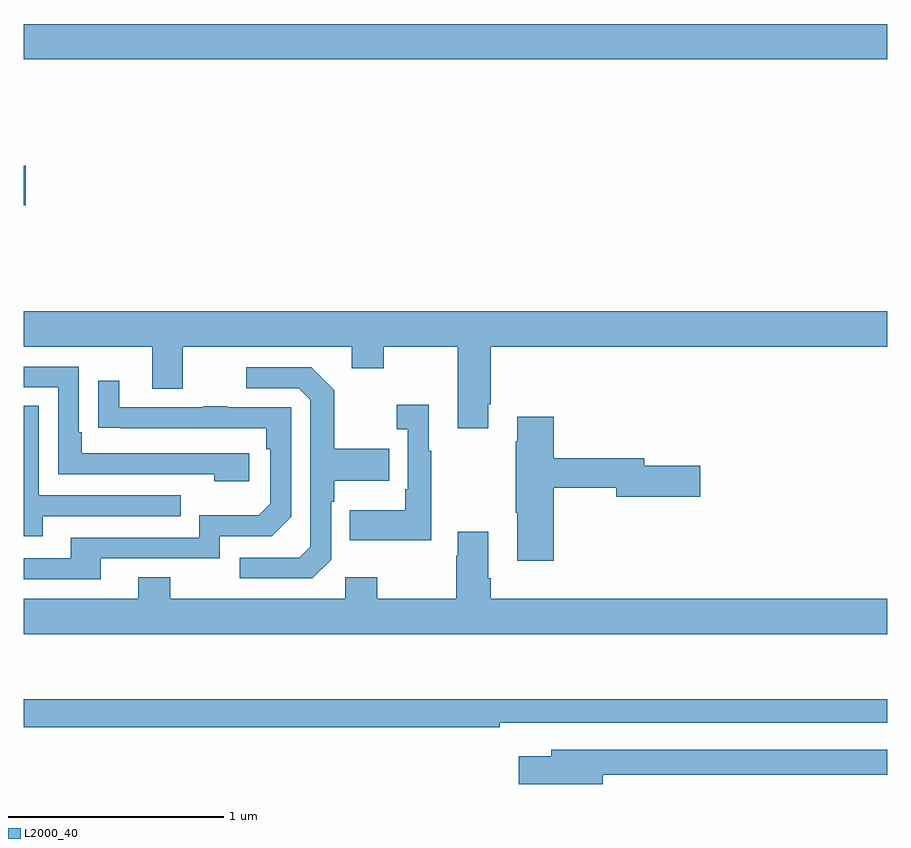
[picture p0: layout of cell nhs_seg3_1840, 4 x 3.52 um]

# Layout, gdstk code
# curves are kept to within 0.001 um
import gdstk
lib = gdstk.Library(unit=1e-6, precision=1e-09)
def R(c, l, rs):  # rectangles x0, y0, x1, y1
    for r in rs: c.add(gdstk.rectangle(r[:2], r[2:], *l))
def P(c, l, *ps):  # polygons
    for p in ps: c.add(gdstk.Polygon(p, *l))
L2000_40 = (2000, 40)

nhs_seg3_1840 = lib.new_cell('nhs_seg3_1840')
R(nhs_seg3_1840, L2000_40, [(205,741.533,205.009,741.716), (205,742.208,209,742.372)])
P(nhs_seg3_1840, L2000_40, [(207.151,740.611),(207.164,740.611),(207.164,740.876),(209,740.876),(209,741.04),(205,741.04),(205,740.876),(205.595,740.876),(205.595,740.682),(205.735,740.682),(205.735,740.876),(206.519,740.876),(206.519,740.777),(206.667,740.777),(206.667,740.876),(207.011,740.876),(207.011,740.499),(207.151,740.499)],
  [(206.044,740.382),(205.267,740.382),(205.267,740.479),(205.254,740.479),(205.254,740.784),(205,740.784),(205,740.688),(205.158,740.688),(205.158,740.286),(205.883,740.286),(205.883,740.252),(206.044,740.252)],
  [(206.424,739.89),(206.424,740.159),(206.437,740.159),(206.437,740.255),(206.693,740.255),(206.693,740.403),(206.437,740.403),(206.437,740.675),(206.331,740.781),(206.031,740.781),(206.031,740.685),(206.274,740.685),(206.328,740.631),(206.328,739.95),(206.277,739.899),(206.001,739.899),(206.001,739.803),(206.337,739.803)],
  [(205.357,739.896),(205.908,739.896),(205.908,739.998),(206.148,739.998),(206.238,740.088),(206.238,740.595),(205.943,740.595),(205.943,740.6),(205.831,740.6),(205.831,740.595),(205.441,740.595),(205.441,740.719),(205.345,740.719),(205.345,740.5),(206.122,740.499),(206.122,740.402),(206.142,740.402),(206.142,740.148),(206.089,740.095),(205.812,740.095),(205.812,739.992),(205.217,739.992),(205.217,739.896),(205,739.896),(205,739.8),(205.357,739.8)],
  [(206.887,740.395),(206.875,740.395),(206.875,740.608),(206.727,740.608),(206.727,740.495),(206.778,740.495),(206.778,740.215),(206.766,740.215),(206.766,740.119),(206.509,740.119),(206.509,739.979),(206.887,739.979)],
  [(205.087,740.091),(205.727,740.091),(205.727,740.187),(205.068,740.187),(205.068,740.603),(205,740.603),(205,739.997),(205.087,739.997)],
  [(207.455,740.224),(207.746,740.224),(207.746,740.182),(208.135,740.182),(208.135,740.324),(207.874,740.324),(207.874,740.36),(207.455,740.36),(207.455,740.551),(207.287,740.551),(207.287,740.438),(207.28,740.438),(207.28,740.107),(207.287,740.107),(207.287,739.884),(207.455,739.884)],
  [(209,739.708),(207.164,739.708),(207.164,739.804),(207.151,739.804),(207.151,740.02),(207.011,740.02),(207.011,739.907),(207.004,739.907),(207.004,739.708),(206.637,739.708),(206.637,739.807),(206.49,739.807),(206.49,739.708),(205.677,739.708),(205.677,739.807),(205.529,739.807),(205.529,739.708),(205,739.708),(205,739.544),(209,739.544)],
  [(207.206,739.134),(209,739.134),(209,739.243),(205,739.243),(205,739.114),(207.206,739.114)],
  [(207.682,738.892),(209,738.892),(209,739.008),(207.443,739.008),(207.443,738.979),(207.294,738.979),(207.294,738.85),(207.682,738.85)])

lib.write_gds('nhs_seg3_1840.gds')
